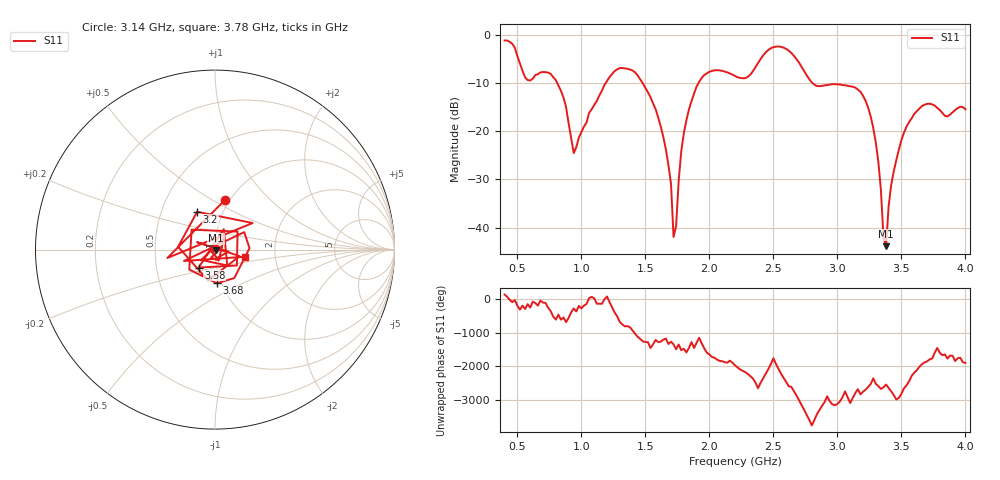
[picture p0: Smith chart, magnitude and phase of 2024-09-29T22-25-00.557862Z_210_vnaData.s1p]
!Created with skrf (http://scikit-rf.org).
# Hz S RI R 50.0
!freq ReS11 ImS11
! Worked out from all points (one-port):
!   181 points, 400 MHz to 4 GHz, reference 50 ohm
!   lowest |S11| = -43.8 dB at 3.38 GHz (marker M1), VSWR 1.01, Z = 50.6 - j0.316 ohm
!   |S11| at or under -10 dB: 810.7 MHz to 1.191 GHz (380.2 MHz wide, 38 % of centre); 1.478 GHz to 1.916 GHz (437.9 MHz wide, 25.8 % of centre); 2.804 GHz to end of sweep
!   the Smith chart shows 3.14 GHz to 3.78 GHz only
!   S11 on the Smith chart (normalised r, x): 3.14 GHz: 0.95, +0.57; 3.2 GHz: 0.75, +0.34; 3.58 GHz: 0.82, -0.17; 3.68 GHz: 0.95, -0.37; 3.78 GHz: 1.40, -0.11
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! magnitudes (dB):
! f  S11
! 400 MHz  -1.2
! 580 MHz  -9.4
! 760 MHz  -8.1
! 860 MHz  -13.0
! 940 MHz  -24.5
! 1.3 GHz  -6.9
! 1.58 GHz  -15.4
! 1.68 GHz  -27.1
! 1.7 GHz  -30.9
! 1.72 GHz  -41.9
! 1.74 GHz  -39.6
! 1.76 GHz  -30.3
! 1.8 GHz  -20.4
! 1.9 GHz  -10.8
! 2.2 GHz  -8.5
! 2.66 GHz  -4.4
! 2.82 GHz  -10.4
! 3.1 GHz  -10.7
! 3.14 GHz  -11.0
! 3.2 GHz  -12.7
! 3.3 GHz  -22.3
! 3.38 GHz  -43.8
! 3.42 GHz  -31.2
! 3.56 GHz  -18.1
! 3.58 GHz  -17.4
! 3.68 GHz  -14.5
! 3.78 GHz  -15.2
! 4 GHz  -15.4
